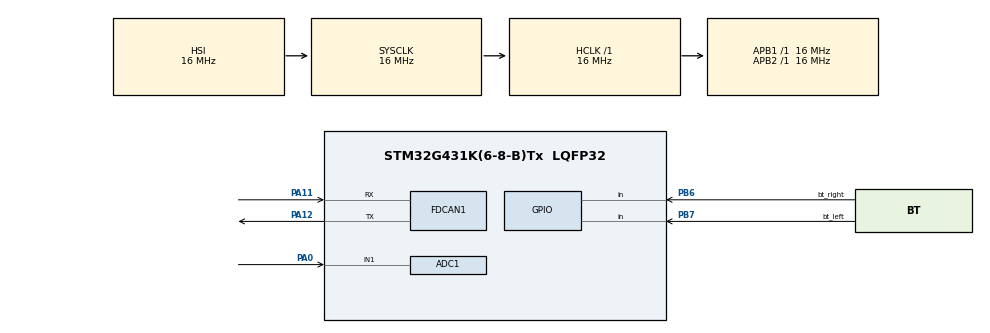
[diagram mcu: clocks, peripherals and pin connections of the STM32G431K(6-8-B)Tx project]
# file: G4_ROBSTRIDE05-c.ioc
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ADC1.Channel-0\#ChannelRegularConversion=ADC_CHANNEL_1
ADC1.ContinuousConvMode=ENABLE
ADC1.DMAContinuousRequests=ENABLE
ADC1.NbrOfConversionFlag=1
ADC1.OffsetNumber-0\#ChannelRegularConversion=ADC_OFFSET_NONE
ADC1.Rank-0\#ChannelRegularConversion=1
ADC1.SamplingTime-0\#ChannelRegularConversion=ADC_SAMPLETIME_640CYCLES_5
ADC1.master=1
Dma.ADC1.0.Direction=DMA_PERIPH_TO_MEMORY
Dma.ADC1.0.EventEnable=DISABLE
Dma.ADC1.0.Instance=DMA1_Channel1
Dma.ADC1.0.MemDataAlignment=DMA_MDATAALIGN_HALFWORD
Dma.ADC1.0.MemInc=DMA_MINC_ENABLE
Dma.ADC1.0.Mode=DMA_CIRCULAR
Dma.ADC1.0.PeriphDataAlignment=DMA_PDATAALIGN_HALFWORD
Dma.ADC1.0.PeriphInc=DMA_PINC_DISABLE
Dma.ADC1.0.Polarity=HAL_DMAMUX_REQ_GEN_RISING
Dma.ADC1.0.Priority=DMA_PRIORITY_LOW
Dma.ADC1.0.RequestNumber=1
Dma.ADC1.0.SignalID=NONE
Dma.ADC1.0.SyncEnable=DISABLE
Dma.ADC1.0.SyncPolarity=HAL_DMAMUX_SYNC_NO_EVENT
Dma.ADC1.0.SyncRequestNumber=1
Dma.ADC1.0.SyncSignalID=NONE
Dma.Request0=ADC1
FDCAN1.CalculateBaudRateNominal=1000000
FDCAN1.CalculateTimeBitNominal=1000
FDCAN1.CalculateTimeQuantumNominal=125.0
FDCAN1.ExtFiltersNbr=1
FDCAN1.NominalPrescaler=2
FDCAN1.NominalTimeSeg1=4
FDCAN1.NominalTimeSeg2=3
FDCAN1.StdFiltersNbr=1
Mcu.Family=STM32G4
Mcu.Name=STM32G431K(6-8-B)Tx
Mcu.Package=LQFP32
NVIC.DMA1_Channel1_IRQn=true\:0\:0\:false\:false\:true\:false\:true\:true
NVIC.FDCAN1_IT0_IRQn=true\:0\:0\:false\:false\:true\:true\:true\:true
NVIC.PriorityGroup=NVIC_PRIORITYGROUP_4
PA0.Mode=IN1-Single-Ended
PA0.Signal=ADC1_IN1
PA11.Mode=FDCAN_Activate
PA11.Signal=FDCAN1_RX
PA12.Mode=FDCAN_Activate
PA12.Signal=FDCAN1_TX
PB6.GPIO_Label=bt_right
PB6.Signal=GPIO_Input
PB7.GPIO_Label=bt_left
PB7.Signal=GPIO_Input
ProjectManager.HeapSize=0x200
ProjectManager.StackSize=0x400
ProjectManager.TargetToolchain=STM32CubeIDE
RCC.AHBFreq_Value=16000000
RCC.APB1Freq_Value=16000000
RCC.APB1TimFreq_Value=16000000
RCC.APB2Freq_Value=16000000
RCC.APB2TimFreq_Value=16000000
RCC.CortexFreq_Value=16000000
RCC.EXTERNAL_CLOCK_VALUE=12288000
RCC.HCLKFreq_Value=16000000
RCC.HSE_VALUE=8000000
RCC.HSI48_VALUE=48000000
RCC.HSI_VALUE=16000000
RCC.LSE_VALUE=32768
RCC.SYSCLKFreq_VALUE=16000000
RCC.USBFreq_Value=64000000
RCC.VCOOutputFreq_Value=128000000
VP_SYS_VS_DBSignals.Mode=DisableDeadBatterySignals
board=custom

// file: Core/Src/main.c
/* USER CODE BEGIN Header */
/**
  ******************************************************************************
  * @file           : main.c
  * @brief          : Main program body
  ******************************************************************************
  * @attention
  *
  * Copyright (c) 2025 STMicroelectronics.
  * All rights reserved.
  *
  * This software is licensed under terms that can be found in the LICENSE file
  * in the root directory of this software component.
  * If no LICENSE file comes with this software, it is provided AS-IS.
  *
  ******************************************************************************
  */
/* USER CODE END Header */
#include "main.h"

/* USER CODE BEGIN Includes */
#include "stdbool.h"
/* USER CODE END Includes */

/* USER CODE BEGIN PTD */
typedef struct {
	bool switch_flag;
	float angle;
	float angular_velocity;
	float target;
	float error;
	float pre_error;
	float integral_error;
	float delta_error;
	float p_val;
	float i_val;
	float d_val;
	int16_t power;
}MECHANISM;
MECHANISM robomas ={0};

typedef enum{
	angle,//位置を制御したいとき
	angular_velocity//速度を制御したいとき
}PID_TARGET;
/* USER CODE END PTD */

/* USER CODE BEGIN PD */
#define MASTER_ID    0xFD
#define MOTOR_ID     0x7F

 #define P_MIN -12.5f
 #define P_MAX 12.5f
 #define V_MIN -44.0f
 #define V_MAX 44.0f
 #define KP_MIN 0.0f
 #define KP_MAX 500.0f
 #define KD_MIN 0.0f
 #define KD_MAX 5.0f
 #define T_MIN -17.0f
 #define T_MAX 17.0f
#define DELTA_T 0.01
/* USER CODE END PD */

ADC_HandleTypeDef hadc1;
DMA_HandleTypeDef hdma_adc1;

FDCAN_HandleTypeDef hfdcan1;

/* USER CODE BEGIN PV */
FDCAN_TxHeaderTypeDef TxHeader;
uint8_t TxData[8];
uint8_t RxData[8];

uint32_t value = 0;

uint8_t data_to_robomas[8];

bool bt_right;
bool bt_left;
/* USER CODE END PV */

void SystemClock_Config(void);
static void MX_GPIO_Init(void);
static void MX_DMA_Init(void);
static void MX_FDCAN1_Init(void);
static void MX_ADC1_Init(void);
/* USER CODE BEGIN PFP */
int float_to_uint(float x,float x_min,float x_max,int bits)
{
	float span = x_max - x_min;
	float offset = x_min;
	if(x > x_max) x = x_max;
	else if(x < x_min) x = x_min;
	return (int) ((x - offset)*((float)((1<<bits)-1))/span);
}

static void FDCAN1_Config(void){
	FDCAN_FilterTypeDef sFilterConfig;

	sFilterConfig.IdType = FDCAN_STANDARD_ID;
	sFilterConfig.FilterIndex = 0;
	sFilterConfig.FilterType = FDCAN_FILTER_MASK;
	sFilterConfig.FilterConfig = FDCAN_FILTER_TO_RXFIFO0;
	sFilterConfig.FilterID1 = 0x000;
	sFilterConfig.FilterID2 = 0x000;
	if(HAL_FDCAN_ConfigFilter(&hfdcan1, &sFilterConfig) != HAL_OK){
		Error_Handler();
	}
	/* Configure global filter to reject all non-matching frames */
	if(HAL_FDCAN_ConfigGlobalFilter(&hfdcan1, FDCAN_REJECT, FDCAN_REJECT, FDCAN_REJECT_REMOTE, FDCAN_REJECT_REMOTE) != HAL_OK){
		Error_Handler();
	}
	if(HAL_FDCAN_Start(&hfdcan1) != HAL_OK){
		Error_Handler();
	}
	if(HAL_FDCAN_ActivateNotification(&hfdcan1, FDCAN_IT_RX_FIFO0_NEW_MESSAGE, 0) != HAL_OK){
		Error_Handler();
	}

	TxHeader.Identifier = 0x200;
	TxHeader.IdType = FDCAN_EXTENDED_ID;
	TxHeader.TxFrameType = FDCAN_DATA_FRAME;
	TxHeader.DataLength = 8;
	TxHeader.ErrorStateIndicator = FDCAN_ESI_ACTIVE;
	TxHeader.BitRateSwitch = FDCAN_BRS_OFF;
	TxHeader.FDFormat = FDCAN_CLASSIC_CAN;
	TxHeader.TxEventFifoControl = FDCAN_NO_TX_EVENTS;
	TxHeader.MessageMarker = 0;
}

void HAL_FDCAN_RxFifo0Callback(FDCAN_HandleTypeDef *hfdcan, uint32_t RxFifo0ITs){
	FDCAN_RxHeaderTypeDef RxHeader;

	if((RxFifo0ITs & FDCAN_IT_RX_FIFO0_NEW_MESSAGE) != RESET){
		if(HAL_FDCAN_GetRxMessage(hfdcan, FDCAN_RX_FIFO0, &RxHeader, RxData) != HAL_OK){
			Error_Handler();
		}
		if(RxHeader.Identifier = 0x200){
			robomas.angle = RxData[0] << 8 | RxData[1];
			robomas.angular_velocity = (int16_t)(RxData[2] << 8 | RxData[3]);
		}
	}
}

void EnableMotor(){
	TxHeader.IdType = FDCAN_EXTENDED_ID;
	TxHeader.Identifier = (0x3<<24) | (MASTER_ID<<8) |(MOTOR_ID);
	for(uint8_t i = 0; i < 7; i++){
		TxData[i] = 0;
	}
	if(HAL_FDCAN_GetTxFifoFreeLevel(&hfdcan1)) {
		if(HAL_FDCAN_AddMessageToTxFifoQ(&hfdcan1, &TxHeader, TxData) != HAL_OK) {
			Error_Handler();
		}
	}
}

void ResetMotorAngle(){
	TxHeader.IdType = FDCAN_EXTENDED_ID;
	TxHeader.Identifier = (0x6<<24) | (MASTER_ID<<8) |(MOTOR_ID);
	for(uint8_t i = 0; i < 7; i++){
		TxData[i] = 0;
	}
	TxData[0] = 1;
	if(HAL_FDCAN_GetTxFifoFreeLevel(&hfdcan1)) {
		if(HAL_FDCAN_AddMessageToTxFifoQ(&hfdcan1, &TxHeader, TxData) != HAL_OK) {
			Error_Handler();
		}
	}
}

void MoveMotor(float Torque, float Angle, float Speed, float Kp, float Kd){
	TxHeader.IdType = FDCAN_EXTENDED_ID;
	TxHeader.Identifier = 0x001<<24|(float_to_uint(Torque,T_MIN,T_MAX,16))<<8|MOTOR_ID;
	TxData[0] = float_to_uint(Angle, P_MIN,P_MAX, 16)>>8;
	TxData[1] = float_to_uint(Angle, P_MIN,P_MAX, 16);
	TxData[2] = float_to_uint(Speed, V_MIN,V_MAX, 16)>>8;
	TxData[3] = float_to_uint(Speed, V_MIN,V_MAX, 16);
	TxData[4] = float_to_uint(Kp, KP_MIN,KP_MAX, 16)>>8;
	TxData[5] = float_to_uint(Kp, KP_MIN,KP_MAX, 16);
	TxData[6] = float_to_uint(Kd, KD_MIN,KD_MAX, 16)>>8;
	TxData[7] = float_to_uint(Kd, KD_MIN,KD_MAX, 16);
	if(HAL_FDCAN_GetTxFifoFreeLevel(&hfdcan1)) {
		if(HAL_FDCAN_AddMessageToTxFifoQ(&hfdcan1, &TxHeader, TxData) != HAL_OK) {
			Error_Handler();
		}
	}
}

void drive_robomas () {
	if (HAL_FDCAN_GetTxFifoFreeLevel(&hfdcan1) > 0) {
		data_to_robomas[0] = (uint8_t )(robomas.power >> 8);
		data_to_robomas[1] = (uint8_t)(robomas.power & 0xFF);
		TxHeader.IdType = FDCAN_STANDARD_ID;
		TxHeader.Identifier = 0x200;
		if (HAL_FDCAN_AddMessageToTxFifoQ(&hfdcan1, &TxHeader, data_to_robomas) != HAL_OK) {
			Error_Handler();
		}
	}
}

void pid(MECHANISM* mechanism, PID_TARGET pid_target, float target_value, float kp, float ki, float kd, float range, int8_t motor_direction){
	mechanism->target = target_value;
	mechanism->pre_error = mechanism->error;
	if(pid_target == angle){//もし角度を制御したいなら
		mechanism->error = mechanism->target - mechanism->angle;//偏差の式にはangleを使用
	}else if(pid_target == angular_velocity){//もし角速度を制御したいなら
		mechanism->error = mechanism->target - mechanism->angular_velocity;//偏差の式にはangular_velocityを使用
	}
	mechanism->delta_error = (mechanism->error - mechanism->pre_error)/DELTA_T;
	mechanism->integral_error += (mechanism->error + mechanism->pre_error) * DELTA_T / 2;
	mechanism->p_val = kp * mechanism->error;
	mechanism->i_val = ki * mechanism->integral_error;
	mechanism->d_val = kd * mechanism->delta_error;
	float u = mechanism->p_val + mechanism->i_val + mechanism->d_val;
	if(u >= range){//オーバーフロー対策
		u = range;
	}else if(u <= -1 * range){
		u = -1 * range;
	}
	mechanism->power = motor_direction * u;
}
/* USER CODE END PFP */

int main(void)
{

  /* MCU Configuration--------------------------------------------------------*/

  /* Reset of all peripherals, Initializes the Flash interface and the Systick. */
  HAL_Init();

  /* Configure the system clock */
  SystemClock_Config();

  /* Initialize all configured peripherals */
  MX_GPIO_Init();
  MX_DMA_Init();
  MX_FDCAN1_Init();
  MX_ADC1_Init();
  /* USER CODE BEGIN 2 */
  FDCAN1_Config();
  EnableMotor();
  HAL_Delay(50);
  ResetMotorAngle();

  HAL_ADCEx_Calibration_Start(&hadc1, ADC_SINGLE_ENDED);
  HAL_ADC_Start_DMA(&hadc1, &value, 1);
  /* USER CODE END 2 */

  /* Infinite loop */
  /* USER CODE BEGIN WHILE */
  while (1)
  {
	  bt_right = HAL_GPIO_ReadPin(bt_right_GPIO_Port, bt_right_Pin);
	  bt_left = HAL_GPIO_ReadPin(bt_left_GPIO_Port, bt_left_Pin);
	  if(bt_right == 1){
		  pid(&robomas, angular_velocity, 500, 2, 0, 0, 3000, 1);
	  }else if(bt_left == 1){
		  pid(&robomas, angular_velocity, -500, 5, 0, 0, 3000, 1);
	  }else{
		  pid(&robomas, angular_velocity, 0, 3, 0, 0, 3000, 1);
	  }

	  drive_robomas();
	  MoveMotor(0, 1.0 * (4096 - value) / 4096, 0, 3.0, 0.2);
	  HAL_Delay(50);
    /* USER CODE END WHILE */

  }
}

void SystemClock_Config(void)
{
  RCC_OscInitTypeDef RCC_OscInitStruct = {0};
  RCC_ClkInitTypeDef RCC_ClkInitStruct = {0};

  /** Configure the main internal regulator output voltage
  */
  HAL_PWREx_ControlVoltageScaling(PWR_REGULATOR_VOLTAGE_SCALE1);

  /** Initializes the RCC Oscillators according to the specified parameters
  * in the RCC_OscInitTypeDef structure.
  */
  RCC_OscInitStruct.OscillatorType = RCC_OSCILLATORTYPE_HSI;
  RCC_OscInitStruct.HSIState = RCC_HSI_ON;
  RCC_OscInitStruct.HSICalibrationValue = RCC_HSICALIBRATION_DEFAULT;
  RCC_OscInitStruct.PLL.PLLState = RCC_PLL_NONE;
  if (HAL_RCC_OscConfig(&RCC_OscInitStruct) != HAL_OK)
  {
    Error_Handler();
  }

  /** Initializes the CPU, AHB and APB buses clocks
  */
  RCC_ClkInitStruct.ClockType = RCC_CLOCKTYPE_HCLK|RCC_CLOCKTYPE_SYSCLK
                              |RCC_CLOCKTYPE_PCLK1|RCC_CLOCKTYPE_PCLK2;
  RCC_ClkInitStruct.SYSCLKSource = RCC_SYSCLKSOURCE_HSI;
  RCC_ClkInitStruct.AHBCLKDivider = RCC_SYSCLK_DIV1;
  RCC_ClkInitStruct.APB1CLKDivider = RCC_HCLK_DIV1;
  RCC_ClkInitStruct.APB2CLKDivider = RCC_HCLK_DIV1;

  if (HAL_RCC_ClockConfig(&RCC_ClkInitStruct, FLASH_LATENCY_0) != HAL_OK)
  {
    Error_Handler();
  }
}

static void MX_ADC1_Init(void)
{

  ADC_MultiModeTypeDef multimode = {0};
  ADC_ChannelConfTypeDef sConfig = {0};

  /** Common config
  */
  hadc1.Instance = ADC1;
  hadc1.Init.ClockPrescaler = ADC_CLOCK_SYNC_PCLK_DIV2;
  hadc1.Init.Resolution = ADC_RESOLUTION_12B;
  hadc1.Init.DataAlign = ADC_DATAALIGN_RIGHT;
  hadc1.Init.GainCompensation = 0;
  hadc1.Init.ScanConvMode = ADC_SCAN_DISABLE;
  hadc1.Init.EOCSelection = ADC_EOC_SINGLE_CONV;
  hadc1.Init.LowPowerAutoWait = DISABLE;
  hadc1.Init.ContinuousConvMode = ENABLE;
  hadc1.Init.NbrOfConversion = 1;
  hadc1.Init.DiscontinuousConvMode = DISABLE;
  hadc1.Init.ExternalTrigConv = ADC_SOFTWARE_START;
  hadc1.Init.ExternalTrigConvEdge = ADC_EXTERNALTRIGCONVEDGE_NONE;
  hadc1.Init.DMAContinuousRequests = ENABLE;
  hadc1.Init.Overrun = ADC_OVR_DATA_PRESERVED;
  hadc1.Init.OversamplingMode = DISABLE;
  if (HAL_ADC_Init(&hadc1) != HAL_OK)
  {
    Error_Handler();
  }

  /** Configure the ADC multi-mode
  */
  multimode.Mode = ADC_MODE_INDEPENDENT;
  if (HAL_ADCEx_MultiModeConfigChannel(&hadc1, &multimode) != HAL_OK)
  {
    Error_Handler();
  }

  /** Configure Regular Channel
  */
  sConfig.Channel = ADC_CHANNEL_1;
  sConfig.Rank = ADC_REGULAR_RANK_1;
  sConfig.SamplingTime = ADC_SAMPLETIME_640CYCLES_5;
  sConfig.SingleDiff = ADC_SINGLE_ENDED;
  sConfig.OffsetNumber = ADC_OFFSET_NONE;
  sConfig.Offset = 0;
  if (HAL_ADC_ConfigChannel(&hadc1, &sConfig) != HAL_OK)
  {
    Error_Handler();
  }

}

static void MX_FDCAN1_Init(void)
{

  hfdcan1.Instance = FDCAN1;
  hfdcan1.Init.ClockDivider = FDCAN_CLOCK_DIV1;
  hfdcan1.Init.FrameFormat = FDCAN_FRAME_CLASSIC;
  hfdcan1.Init.Mode = FDCAN_MODE_NORMAL;
  hfdcan1.Init.AutoRetransmission = DISABLE;
  hfdcan1.Init.TransmitPause = DISABLE;
  hfdcan1.Init.ProtocolException = DISABLE;
  hfdcan1.Init.NominalPrescaler = 2;
  hfdcan1.Init.NominalSyncJumpWidth = 1;
  hfdcan1.Init.NominalTimeSeg1 = 4;
  hfdcan1.Init.NominalTimeSeg2 = 3;
  hfdcan1.Init.DataPrescaler = 1;
  hfdcan1.Init.DataSyncJumpWidth = 1;
  hfdcan1.Init.DataTimeSeg1 = 1;
  hfdcan1.Init.DataTimeSeg2 = 1;
  hfdcan1.Init.StdFiltersNbr = 1;
  hfdcan1.Init.ExtFiltersNbr = 1;
  hfdcan1.Init.TxFifoQueueMode = FDCAN_TX_FIFO_OPERATION;
  if (HAL_FDCAN_Init(&hfdcan1) != HAL_OK)
  {
    Error_Handler();
  }

}

static void MX_DMA_Init(void)
{

  /* DMA controller clock enable */
  __HAL_RCC_DMAMUX1_CLK_ENABLE();
  __HAL_RCC_DMA1_CLK_ENABLE();

  /* DMA interrupt init */
  /* DMA1_Channel1_IRQn interrupt configuration */
  HAL_NVIC_SetPriority(DMA1_Channel1_IRQn, 0, 0);
  HAL_NVIC_EnableIRQ(DMA1_Channel1_IRQn);

}

static void MX_GPIO_Init(void)
{
  GPIO_InitTypeDef GPIO_InitStruct = {0};

  /* GPIO Ports Clock Enable */
  __HAL_RCC_GPIOA_CLK_ENABLE();
  __HAL_RCC_GPIOB_CLK_ENABLE();

  /*Configure GPIO pins : bt_right_Pin bt_left_Pin */
  GPIO_InitStruct.Pin = bt_right_Pin|bt_left_Pin;
  GPIO_InitStruct.Mode = GPIO_MODE_INPUT;
  GPIO_InitStruct.Pull = GPIO_NOPULL;
  HAL_GPIO_Init(GPIOB, &GPIO_InitStruct);

}

void Error_Handler(void)
{
  __disable_irq();
  while (1)
  {
  }
}
